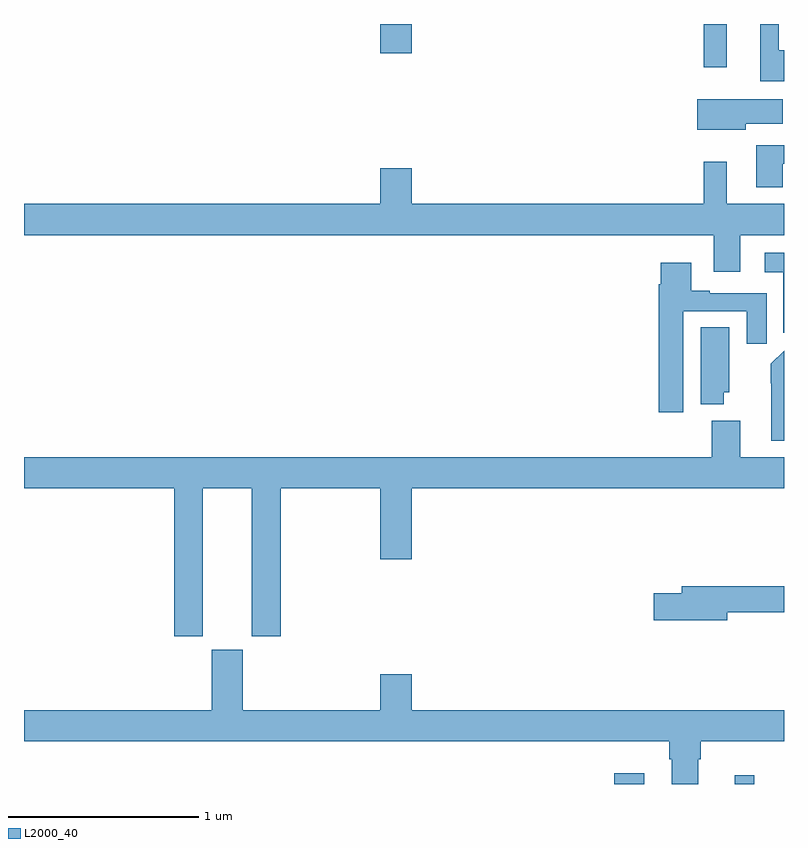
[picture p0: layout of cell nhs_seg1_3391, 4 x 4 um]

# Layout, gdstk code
import gdstk
lib = gdstk.Library(unit=1e-6, precision=1e-09)
def R(c, l, rs):  # rectangles x0, y0, x1, y1
    for r in rs: c.add(gdstk.rectangle(r[:2], r[2:], *l))
def P(c, l, *ps):  # polygons
    for p in ps: c.add(gdstk.Polygon(p, *l))
L2000_40 = (2000, 40)

nhs_seg1_3391 = lib.new_cell('nhs_seg1_3391')
R(nhs_seg1_3391, L2000_40, [(298.106,526.199,298.264,526.255), (298.742,526.199,298.844,526.246), (298.578,529.971,298.699,530.199), (296.876,530.046,297.04,530.199)])
P(nhs_seg1_3391, L2000_40, [(299,530.062),(298.972,530.062),(298.972,530.199),(298.874,530.199),(298.874,529.898),(299,529.898)],
  [(298.798,529.675),(298.993,529.675),(298.993,529.804),(298.544,529.804),(298.544,529.643),(298.798,529.643)],
  [(298.993,529.463),(299,529.463),(299,529.561),(298.853,529.561),(298.853,529.341),(298.993,529.341)],
  [(298.771,529.088),(299,529.088),(299,529.252),(298.699,529.252),(298.699,529.474),(298.578,529.474),(298.578,529.252),(297.04,529.252),(297.04,529.441),(296.876,529.441),(296.876,529.252),(295,529.252),(295,529.088),(298.631,529.088),(298.631,528.894),(298.771,528.894)],
  [(299,528.994),(298.899,528.994),(298.899,528.893),(298.997,528.893),(298.997,528.574),(299,528.574)],
  [(298.471,528.687),(298.805,528.687),(298.805,528.516),(298.909,528.516),(298.909,528.783),(298.609,528.783),(298.609,528.796),(298.513,528.796),(298.513,528.943),(298.352,528.943),(298.352,528.83),(298.34,528.83),(298.34,528.156),(298.471,528.156)],
  [(298.684,528.261),(298.711,528.261),(298.711,528.602),(298.562,528.602),(298.562,528.197),(298.684,528.197)],
  [(299,528.479),(298.931,528.41),(298.931,528.308),(298.932,528.308),(298.932,528.005),(299,528.005)],
  [(295.942,527.756),(296.198,527.756),(296.198,526.977),(296.351,526.977),(296.351,527.756),(296.876,527.756),(296.876,527.382),(297.04,527.382),(297.04,527.756),(299,527.756),(299,527.92),(298.771,527.92),(298.771,528.112),(298.619,528.112),(298.619,527.92),(295,527.92),(295,527.756),(295.79,527.756),(295.79,526.977),(295.942,526.977)],
  [(298.702,527.104),(299,527.104),(299,527.24),(298.463,527.24),(298.463,527.204),(298.314,527.204),(298.314,527.062),(298.702,527.062)],
  [(298.549,526.328),(298.562,526.328),(298.562,526.424),(299,526.424),(299,526.588),(297.04,526.588),(297.04,526.777),(296.876,526.777),(296.876,526.588),(296.152,526.588),(296.152,526.905),(295.988,526.905),(295.988,526.588),(295,526.588),(295,526.424),(298.397,526.424),(298.397,526.328),(298.409,526.328),(298.409,526.199),(298.549,526.199)])

lib.write_gds('nhs_seg1_3391.gds')
